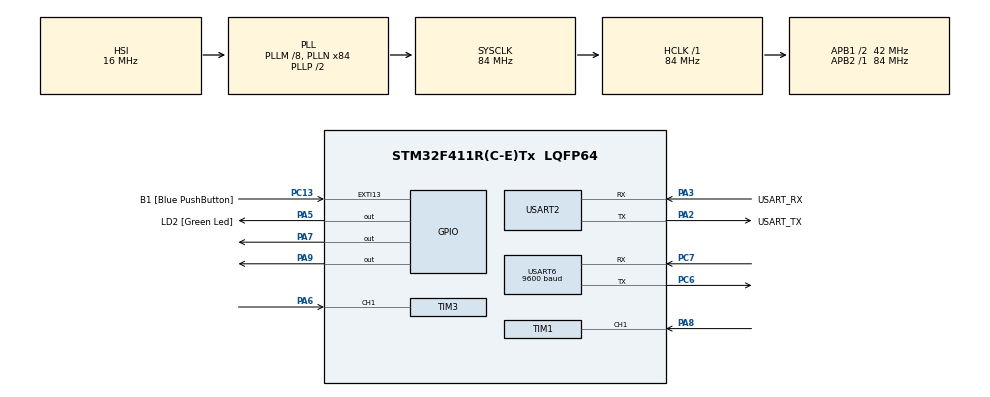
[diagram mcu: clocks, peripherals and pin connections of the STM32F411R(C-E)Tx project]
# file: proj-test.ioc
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Mcu.Family=STM32F4
Mcu.Name=STM32F411R(C-E)Tx
Mcu.Package=LQFP64
NVIC.PriorityGroup=NVIC_PRIORITYGROUP_0
NVIC.TIM1_CC_IRQn=true\:0\:0\:false\:false\:true\:true\:true
NVIC.TIM3_IRQn=true\:0\:0\:false\:false\:true\:true\:true
PA13.GPIO_Label=TMS
PA13.Mode=Serial_Wire
PA13.Signal=SYS_JTMS-SWDIO
PA14.GPIO_Label=TCK
PA14.Mode=Serial_Wire
PA14.Signal=SYS_JTCK-SWCLK
PA2.GPIO_Label=USART_TX
PA2.Mode=Asynchronous
PA2.Signal=USART2_TX
PA3.GPIO_Label=USART_RX
PA3.Mode=Asynchronous
PA3.Signal=USART2_RX
PA5.GPIO_Label=LD2 [Green Led]
PA5.Signal=GPIO_Output
PA6.Signal=S_TIM3_CH1
PA7.Signal=GPIO_Output
PA8.Signal=S_TIM1_CH1
PA9.Signal=GPIO_Output
PB3.GPIO_Label=SWO
PB3.Signal=SYS_JTDO-SWO
PC13-ANTI_TAMP.GPIO_Label=B1 [Blue PushButton]
PC13-ANTI_TAMP.GPIO_ModeDefaultEXTI=GPIO_MODE_IT_FALLING
PC13-ANTI_TAMP.Signal=GPXTI13
PC14-OSC32_IN.Mode=LSE-External-Oscillator
PC14-OSC32_IN.Signal=RCC_OSC32_IN
PC15-OSC32_OUT.Mode=LSE-External-Oscillator
PC15-OSC32_OUT.Signal=RCC_OSC32_OUT
PC6.Mode=Asynchronous
PC6.Signal=USART6_TX
PC7.Mode=Asynchronous
PC7.Signal=USART6_RX
PH0\ -\ OSC_IN.Mode=HSE-External-Clock-Source
PH0\ -\ OSC_IN.Signal=RCC_OSC_IN
PH1\ -\ OSC_OUT.Mode=HSE-External-Clock-Source
PH1\ -\ OSC_OUT.Signal=RCC_OSC_OUT
ProjectManager.HeapSize=0x200
ProjectManager.StackSize=0x400
ProjectManager.TargetToolchain=STM32CubeIDE
RCC.48MHZClocksFreq_Value=42000000
RCC.AHBFreq_Value=84000000
RCC.APB1CLKDivider=RCC_HCLK_DIV2
RCC.APB1Freq_Value=42000000
RCC.APB1TimFreq_Value=84000000
RCC.APB2Freq_Value=84000000
RCC.APB2TimFreq_Value=84000000
RCC.CortexFreq_Value=84000000
RCC.FLatency-AdvancedSettings=FLASH_LATENCY_2
RCC.HCLKFreq_Value=84000000
RCC.HSE_VALUE=8000000
RCC.HSI_VALUE=16000000
RCC.PLLM=8
RCC.PLLN=84
RCC.SYSCLKFreq_VALUE=84000000
RCC.SYSCLKSource=RCC_SYSCLKSOURCE_PLLCLK
RCC.VCOOutputFreq_Value=168000000
SH.S_TIM1_CH1.0=TIM1_CH1,Input_Capture1_from_TI1
SH.S_TIM3_CH1.0=TIM3_CH1,Input_Capture1_from_TI1
TIM1.Channel-Input_Capture1_from_TI1=TIM_CHANNEL_1
TIM1.Period=0xffff-1
TIM1.Prescaler=84-1
TIM3.Channel-Input_Capture1_from_TI1=TIM_CHANNEL_1
TIM3.Period=0xffff-1
TIM3.Prescaler=84-1
USART2.VirtualMode=VM_ASYNC
USART6.BaudRate=9600
USART6.Mode=MODE_TX_RX
USART6.VirtualMode=VM_ASYNC
board=NUCLEO-F411RE

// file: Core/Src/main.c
/* USER CODE BEGIN Header */
/**
  ******************************************************************************
  * @file           : main.c
  * @brief          : Main program body
  ******************************************************************************
  * @attention
  *
  * <h2><center>&copy; Copyright (c) 2022 STMicroelectronics.
  * All rights reserved.</center></h2>
  *
  * This software component is licensed by ST under BSD 3-Clause license,
  * the "License"; You may not use this file except in compliance with the
  * License. You may obtain a copy of the License at:
  *                        opensource.org/licenses/BSD-3-Clause
  *
  ******************************************************************************
  */
/* USER CODE END Header */
#include "main.h"

TIM_HandleTypeDef htim1;
TIM_HandleTypeDef htim3;

UART_HandleTypeDef huart2;
UART_HandleTypeDef huart6;

void SystemClock_Config(void);
static void MX_GPIO_Init(void);
static void MX_USART2_UART_Init(void);
static void MX_TIM1_Init(void);
static void MX_TIM3_Init(void);
static void MX_USART6_UART_Init(void);

/* USER CODE BEGIN 0 */

uint32_t IC_Val1 = 0;
uint32_t IC_Val2 = 0;
uint32_t Difference = 0;
uint8_t Is_First_Captured = 0;  // is the first value captured ?
uint8_t Distance  = 0;

uint32_t IC_v1 = 0;
uint32_t IC_v2 = 0;
uint32_t Diff = 0;
uint8_t Is_First_2_Captured = 0;
uint8_t Dist = 0;

int PEOPLE = 0;
int ORIGIN_IN = 24;
int ORIGIN_OUT = 24;
float min_diff = 0.15;

int state_in = 0;
int state_out = 0;

long int tin = 0;
long int tout = 0;

#define TRIG_PIN GPIO_PIN_9
#define TRIG_PORT GPIOA

#define TRIG_PORT_2 GPIOA
#define TRIG_PIN_2 GPIO_PIN_7

int capturing = 0;

// Let's write the callback function

void HAL_TIM_IC_CaptureCallback(TIM_HandleTypeDef *htim)
{
//	char msg1[] = "callback called\r\n";
//	HAL_UART_Transmit(&huart2, msg1, sizeof(msg1), 1000);

	if (htim->Instance == TIM1 && htim->Channel == HAL_TIM_ACTIVE_CHANNEL_1)  // if the interrupt source is channel1
	{
		if (Is_First_Captured==0) // if the first value is not captured
		{
			IC_Val1 = HAL_TIM_ReadCapturedValue(htim, TIM_CHANNEL_1); // read the first value
			Is_First_Captured = 1;  // set the first captured as true

//			char msg[] = "first val captured\r\n";
//			HAL_UART_Transmit(&huart2, msg, sizeof(msg), 1000);

			// Now change the polarity to falling edge
			__HAL_TIM_SET_CAPTUREPOLARITY(htim, TIM_CHANNEL_1, TIM_INPUTCHANNELPOLARITY_FALLING);
		}

		else if (Is_First_Captured==1)   // if the first is already captured
		{
			IC_Val2 = HAL_TIM_ReadCapturedValue(htim, TIM_CHANNEL_1);  // read second value
			__HAL_TIM_SET_COUNTER(htim, 0);  // reset the counter

			if (IC_Val2 > IC_Val1)
			{
				Difference = IC_Val2-IC_Val1;
			}

			else if (IC_Val1 > IC_Val2)
			{
				Difference = (0xffff - IC_Val1) + IC_Val2;
			}

			Distance = Difference * .034/2;
			Is_First_Captured = 0; // set it back to false

			if(Distance < ORIGIN_IN && ORIGIN_IN - Distance > (min_diff * ORIGIN_IN)) {
				if(state_in == 0){
					state_in = 1;
					tin = HAL_GetTick();
				}
			}else if(state_in == 1){
				long int t = HAL_GetTick();
				if(t - tin > 1000){
					state_in = 0;
					PEOPLE++;
					char msg[10];
					sprintf(msg, "in %d \n\r", PEOPLE);
					HAL_UART_Transmit(&huart2, msg, strlen(msg), 1000);
					HAL_UART_Init(&huart2);

					char payload[1] = "i";
					HAL_UART_Transmit(&huart6, payload, strlen(payload), 1000);
				}
			}
//			char dist[20];
//            sprintf(dist, "dist 1: %d\n\r", Distance);
//            HAL_UART_Transmit(&huart2, dist, sizeof(dist), 1000);

			// set polarity to rising edge
			__HAL_TIM_SET_CAPTUREPOLARITY(htim, TIM_CHANNEL_1, TIM_INPUTCHANNELPOLARITY_RISING);
			__HAL_TIM_DISABLE_IT(&htim1, TIM_IT_CC1);
			if(capturing) capturing = 0;
		}
	}

	else if (htim->Instance == TIM3 && htim->Channel == HAL_TIM_ACTIVE_CHANNEL_1)  // if the interrupt source is channel1
		{
			if (Is_First_2_Captured==0) // if the first value is not captured
			{
				IC_v1 = HAL_TIM_ReadCapturedValue(htim, TIM_CHANNEL_1); // read the first value
				Is_First_2_Captured = 1;  // set the first captured as true

	//			char msg[] = "first val captured\r\n";
	//			HAL_UART_Transmit(&huart2, msg, sizeof(msg), 1000);

				// Now change the polarity to falling edge
				__HAL_TIM_SET_CAPTUREPOLARITY(htim, TIM_CHANNEL_1, TIM_INPUTCHANNELPOLARITY_FALLING);
			}

			else if (Is_First_2_Captured==1)   // if the first is already captured
			{
				IC_v2 = HAL_TIM_ReadCapturedValue(htim, TIM_CHANNEL_1);  // read second value
				__HAL_TIM_SET_COUNTER(htim, 0);  // reset the counter

				if (IC_v2 > IC_v1)
				{
					Diff = IC_v2-IC_v1;
				}

				else if (IC_v1 > IC_v2)
				{
					Diff = (0xffff - IC_v1) + IC_v2;
				}

				Dist = Diff * .034/2;
				Is_First_2_Captured = 0; // set it back to false

				if(Dist < ORIGIN_OUT && ORIGIN_OUT - Dist > (min_diff * ORIGIN_OUT)) {
					if(state_out == 0){
						state_out = 1;
						tout = HAL_GetTick();
					}
				}else if(state_out == 1){
					long int t = HAL_GetTick();
					if(t - tout > 1000){
						state_out = 0;
						PEOPLE--;
						char msg2[10];
						sprintf(msg2, "out %d \n\r", PEOPLE);
						HAL_UART_Transmit(&huart2, msg2, strlen(msg2), 1000);
						HAL_UART_Init(&huart2);

						char payload[1] = "o";
						HAL_UART_Transmit(&huart6, payload, strlen(payload), 1000);
					}
				}

//				char dist2[20];
//	            sprintf(dist2, "dist 2: %d\n\r", Dist);
//	            HAL_UART_Transmit(&huart2, dist2, sizeof(dist2), 1000);

				// set polarity to rising edge
				__HAL_TIM_SET_CAPTUREPOLARITY(htim, TIM_CHANNEL_1, TIM_INPUTCHANNELPOLARITY_RISING);
				__HAL_TIM_DISABLE_IT(&htim3, TIM_IT_CC1);
				if(capturing) capturing = 0;
			}
		}
}

void HCSR04_Read (void)
{
//    char s[] = "function read called\r\n";
//	HAL_UART_Transmit(&huart2, s, sizeof(s), 1000);

	HAL_GPIO_WritePin(TRIG_PORT, TRIG_PIN, GPIO_PIN_SET);  // pull the TRIG pin HIGH
	HAL_Delay(10);  // wait for 10 us
	HAL_GPIO_WritePin(TRIG_PORT, TRIG_PIN, GPIO_PIN_RESET);  // pull the TRIG pin low

	__HAL_TIM_ENABLE_IT(&htim1, TIM_IT_CC1);

	HAL_GPIO_WritePin(TRIG_PORT_2, TRIG_PIN_2, GPIO_PIN_SET);
	HAL_Delay(10);
	HAL_GPIO_WritePin(TRIG_PORT_2, TRIG_PIN_2, GPIO_PIN_RESET);

	__HAL_TIM_ENABLE_IT(&htim3, TIM_IT_CC1);
}

/* USER CODE END 0 */

int main(void)
{

  /* MCU Configuration--------------------------------------------------------*/

  /* Reset of all peripherals, Initializes the Flash interface and the Systick. */
  HAL_Init();

  /* Configure the system clock */
  SystemClock_Config();

  /* Initialize all configured peripherals */
  MX_GPIO_Init();
  MX_USART2_UART_Init();
  MX_TIM1_Init();
  MX_TIM3_Init();
  MX_USART6_UART_Init();
  /* USER CODE BEGIN 2 */
  HAL_TIM_IC_Start_IT(&htim1, TIM_CHANNEL_1);
  HAL_TIM_IC_Start_IT(&htim3, TIM_CHANNEL_1);
  /* USER CODE END 2 */

  /* Infinite loop */
  while (1)
  {

    /* USER CODE BEGIN 3 */

	  HCSR04_Read();
	  HAL_Delay(20);
  }
  /* USER CODE END 3 */
}

void SystemClock_Config(void)
{
  RCC_OscInitTypeDef RCC_OscInitStruct = {0};
  RCC_ClkInitTypeDef RCC_ClkInitStruct = {0};

  /** Configure the main internal regulator output voltage
  */
  __HAL_RCC_PWR_CLK_ENABLE();
  __HAL_PWR_VOLTAGESCALING_CONFIG(PWR_REGULATOR_VOLTAGE_SCALE1);
  /** Initializes the RCC Oscillators according to the specified parameters
  * in the RCC_OscInitTypeDef structure.
  */
  RCC_OscInitStruct.OscillatorType = RCC_OSCILLATORTYPE_HSI;
  RCC_OscInitStruct.HSIState = RCC_HSI_ON;
  RCC_OscInitStruct.HSICalibrationValue = RCC_HSICALIBRATION_DEFAULT;
  RCC_OscInitStruct.PLL.PLLState = RCC_PLL_ON;
  RCC_OscInitStruct.PLL.PLLSource = RCC_PLLSOURCE_HSI;
  RCC_OscInitStruct.PLL.PLLM = 8;
  RCC_OscInitStruct.PLL.PLLN = 84;
  RCC_OscInitStruct.PLL.PLLP = RCC_PLLP_DIV2;
  RCC_OscInitStruct.PLL.PLLQ = 4;
  if (HAL_RCC_OscConfig(&RCC_OscInitStruct) != HAL_OK)
  {
    Error_Handler();
  }
  /** Initializes the CPU, AHB and APB buses clocks
  */
  RCC_ClkInitStruct.ClockType = RCC_CLOCKTYPE_HCLK|RCC_CLOCKTYPE_SYSCLK
                              |RCC_CLOCKTYPE_PCLK1|RCC_CLOCKTYPE_PCLK2;
  RCC_ClkInitStruct.SYSCLKSource = RCC_SYSCLKSOURCE_PLLCLK;
  RCC_ClkInitStruct.AHBCLKDivider = RCC_SYSCLK_DIV1;
  RCC_ClkInitStruct.APB1CLKDivider = RCC_HCLK_DIV2;
  RCC_ClkInitStruct.APB2CLKDivider = RCC_HCLK_DIV1;

  if (HAL_RCC_ClockConfig(&RCC_ClkInitStruct, FLASH_LATENCY_2) != HAL_OK)
  {
    Error_Handler();
  }
}

static void MX_TIM1_Init(void)
{

  TIM_MasterConfigTypeDef sMasterConfig = {0};
  TIM_IC_InitTypeDef sConfigIC = {0};

  htim1.Instance = TIM1;
  htim1.Init.Prescaler = 84-1;
  htim1.Init.CounterMode = TIM_COUNTERMODE_UP;
  htim1.Init.Period = 0xffff-1;
  htim1.Init.ClockDivision = TIM_CLOCKDIVISION_DIV1;
  htim1.Init.RepetitionCounter = 0;
  htim1.Init.AutoReloadPreload = TIM_AUTORELOAD_PRELOAD_DISABLE;
  if (HAL_TIM_IC_Init(&htim1) != HAL_OK)
  {
    Error_Handler();
  }
  sMasterConfig.MasterOutputTrigger = TIM_TRGO_RESET;
  sMasterConfig.MasterSlaveMode = TIM_MASTERSLAVEMODE_DISABLE;
  if (HAL_TIMEx_MasterConfigSynchronization(&htim1, &sMasterConfig) != HAL_OK)
  {
    Error_Handler();
  }
  sConfigIC.ICPolarity = TIM_INPUTCHANNELPOLARITY_RISING;
  sConfigIC.ICSelection = TIM_ICSELECTION_DIRECTTI;
  sConfigIC.ICPrescaler = TIM_ICPSC_DIV1;
  sConfigIC.ICFilter = 0;
  if (HAL_TIM_IC_ConfigChannel(&htim1, &sConfigIC, TIM_CHANNEL_1) != HAL_OK)
  {
    Error_Handler();
  }

}

static void MX_TIM3_Init(void)
{

  TIM_MasterConfigTypeDef sMasterConfig = {0};
  TIM_IC_InitTypeDef sConfigIC = {0};

  htim3.Instance = TIM3;
  htim3.Init.Prescaler = 84-1;
  htim3.Init.CounterMode = TIM_COUNTERMODE_UP;
  htim3.Init.Period = 0xffff-1;
  htim3.Init.ClockDivision = TIM_CLOCKDIVISION_DIV1;
  htim3.Init.AutoReloadPreload = TIM_AUTORELOAD_PRELOAD_DISABLE;
  if (HAL_TIM_IC_Init(&htim3) != HAL_OK)
  {
    Error_Handler();
  }
  sMasterConfig.MasterOutputTrigger = TIM_TRGO_RESET;
  sMasterConfig.MasterSlaveMode = TIM_MASTERSLAVEMODE_DISABLE;
  if (HAL_TIMEx_MasterConfigSynchronization(&htim3, &sMasterConfig) != HAL_OK)
  {
    Error_Handler();
  }
  sConfigIC.ICPolarity = TIM_INPUTCHANNELPOLARITY_RISING;
  sConfigIC.ICSelection = TIM_ICSELECTION_DIRECTTI;
  sConfigIC.ICPrescaler = TIM_ICPSC_DIV1;
  sConfigIC.ICFilter = 0;
  if (HAL_TIM_IC_ConfigChannel(&htim3, &sConfigIC, TIM_CHANNEL_1) != HAL_OK)
  {
    Error_Handler();
  }

}

static void MX_USART2_UART_Init(void)
{

  huart2.Instance = USART2;
  huart2.Init.BaudRate = 115200;
  huart2.Init.WordLength = UART_WORDLENGTH_8B;
  huart2.Init.StopBits = UART_STOPBITS_1;
  huart2.Init.Parity = UART_PARITY_NONE;
  huart2.Init.Mode = UART_MODE_TX_RX;
  huart2.Init.HwFlowCtl = UART_HWCONTROL_NONE;
  huart2.Init.OverSampling = UART_OVERSAMPLING_16;
  if (HAL_UART_Init(&huart2) != HAL_OK)
  {
    Error_Handler();
  }

}

static void MX_USART6_UART_Init(void)
{

  huart6.Instance = USART6;
  huart6.Init.BaudRate = 9600;
  huart6.Init.WordLength = UART_WORDLENGTH_8B;
  huart6.Init.StopBits = UART_STOPBITS_1;
  huart6.Init.Parity = UART_PARITY_NONE;
  huart6.Init.Mode = UART_MODE_TX_RX;
  huart6.Init.HwFlowCtl = UART_HWCONTROL_NONE;
  huart6.Init.OverSampling = UART_OVERSAMPLING_16;
  if (HAL_UART_Init(&huart6) != HAL_OK)
  {
    Error_Handler();
  }

}

static void MX_GPIO_Init(void)
{
  GPIO_InitTypeDef GPIO_InitStruct = {0};

  /* GPIO Ports Clock Enable */
  __HAL_RCC_GPIOC_CLK_ENABLE();
  __HAL_RCC_GPIOH_CLK_ENABLE();
  __HAL_RCC_GPIOA_CLK_ENABLE();
  __HAL_RCC_GPIOB_CLK_ENABLE();

  /*Configure GPIO pin Output Level */
  HAL_GPIO_WritePin(GPIOA, LD2_Pin|GPIO_PIN_7|GPIO_PIN_9, GPIO_PIN_RESET);

  /*Configure GPIO pin : B1_Pin */
  GPIO_InitStruct.Pin = B1_Pin;
  GPIO_InitStruct.Mode = GPIO_MODE_IT_FALLING;
  GPIO_InitStruct.Pull = GPIO_NOPULL;
  HAL_GPIO_Init(B1_GPIO_Port, &GPIO_InitStruct);

  /*Configure GPIO pins : LD2_Pin PA7 PA9 */
  GPIO_InitStruct.Pin = LD2_Pin|GPIO_PIN_7|GPIO_PIN_9;
  GPIO_InitStruct.Mode = GPIO_MODE_OUTPUT_PP;
  GPIO_InitStruct.Pull = GPIO_NOPULL;
  GPIO_InitStruct.Speed = GPIO_SPEED_FREQ_LOW;
  HAL_GPIO_Init(GPIOA, &GPIO_InitStruct);

}

void Error_Handler(void)
{
  __disable_irq();
  while (1)
  {
  }
}

/************************ (C) COPYRIGHT STMicroelectronics *****END OF FILE****/
